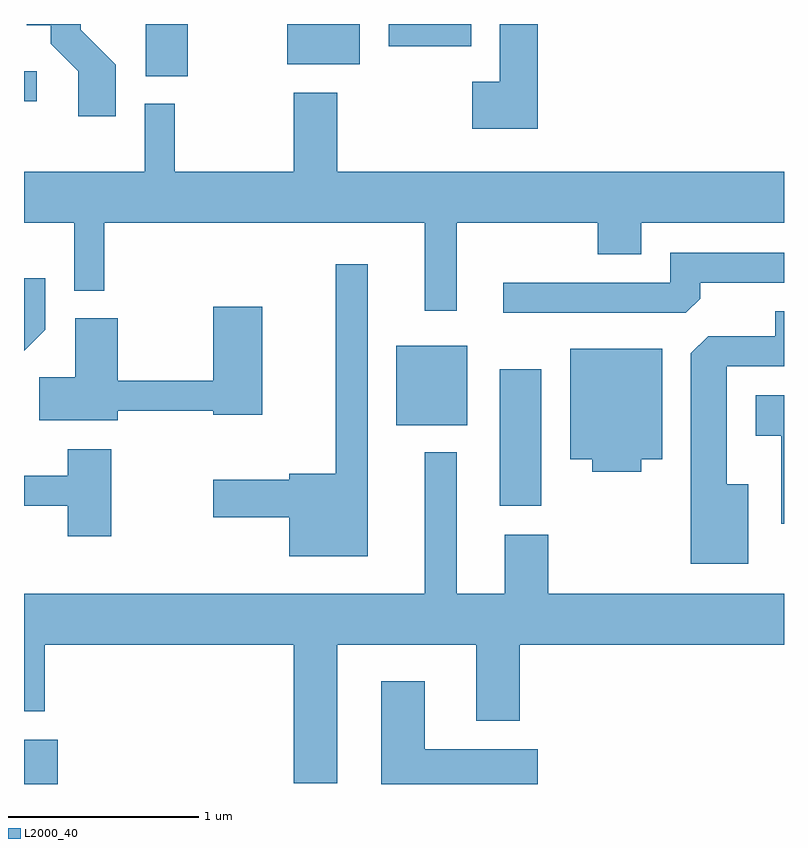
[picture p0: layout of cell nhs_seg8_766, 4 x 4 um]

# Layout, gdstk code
import gdstk
lib = gdstk.Library(unit=1e-6, precision=1e-09)
def R(c, l, rs):  # rectangles x0, y0, x1, y1
    for r in rs: c.add(gdstk.rectangle(r[:2], r[2:], *l))
def P(c, l, *ps):  # polygons
    for p in ps: c.add(gdstk.Polygon(p, *l))
L2000_40 = (2000, 40)

nhs_seg8_766 = lib.new_cell('nhs_seg8_766')
R(nhs_seg8_766, L2000_40, [(207.611,1842.342,207.789,1842.574), (210.116,1843.806,210.334,1844.524), (209.571,1844.231,209.944,1844.649), (207.611,1845.936,207.678,1846.094), (208.251,1846.066,208.474,1846.342), (208.996,1846.131,209.379,1846.342), (209.531,1846.226,209.964,1846.342)])
P(nhs_seg8_766, L2000_40, [(208.094,1846.127),(207.909,1846.312),(207.909,1846.342),(207.626,1846.342),(207.626,1846.336),(207.751,1846.336),(207.751,1846.239),(207.896,1846.094),(207.896,1845.856),(208.094,1845.856)],
  [(210.314,1846.342),(210.116,1846.342),(210.116,1846.039),(209.971,1846.039),(209.971,1845.791),(210.314,1845.791)],
  [(209.889,1845.296),(210.631,1845.296),(210.631,1845.131),(210.859,1845.131),(210.859,1845.296),(211.611,1845.296),(211.611,1845.564),(209.259,1845.564),(209.259,1845.979),(209.031,1845.979),(209.031,1845.564),(208.404,1845.564),(208.404,1845.923),(208.246,1845.923),(208.246,1845.564),(207.611,1845.564),(207.611,1845.296),(207.876,1845.296),(207.876,1844.938),(208.034,1844.938),(208.034,1845.296),(209.721,1845.296),(209.721,1844.833),(209.889,1844.833)],
  [(211.169,1844.897),(211.169,1844.981),(211.611,1844.981),(211.611,1845.139),(211.011,1845.139),(211.011,1844.979),(210.133,1844.979),(210.133,1844.821),(211.094,1844.821)],
  [(209.419,1845.078),(209.251,1845.078),(209.251,1843.974),(209.006,1843.974),(209.006,1843.944),(208.606,1843.944),(208.606,1843.746),(209.006,1843.746),(209.006,1843.541),(209.419,1843.541)],
  [(207.724,1844.734),(207.724,1845.004),(207.611,1845.004),(207.611,1844.621)],
  [(208.104,1844.306),(208.606,1844.306),(208.606,1844.286),(208.864,1844.286),(208.864,1844.854),(208.606,1844.854),(208.606,1844.464),(208.104,1844.464),(208.104,1844.794),(207.881,1844.794),(207.881,1844.484),(207.691,1844.484),(207.691,1844.256),(208.104,1844.256)],
  [(211.424,1843.919),(211.309,1843.919),(211.309,1844.541),(211.611,1844.541),(211.611,1844.829),(211.566,1844.829),(211.566,1844.699),(211.212,1844.699),(211.121,1844.609),(211.121,1843.501),(211.424,1843.501)],
  [(210.859,1844.051),(210.969,1844.051),(210.969,1844.634),(210.486,1844.634),(210.486,1844.051),(210.601,1844.051),(210.601,1843.986),(210.859,1843.986)],
  [(211.611,1844.389),(211.461,1844.389),(211.461,1844.176),(211.596,1844.176),(211.596,1843.711),(211.611,1843.711)],
  [(208.069,1844.104),(207.841,1844.104),(207.841,1843.964),(207.611,1843.964),(207.611,1843.806),(207.841,1843.806),(207.841,1843.646),(208.069,1843.646)],
  [(207.611,1842.726),(207.719,1842.726),(207.719,1843.076),(209.031,1843.076),(209.031,1842.346),(209.259,1842.346),(209.259,1843.076),(209.991,1843.076),(209.991,1842.676),(210.219,1842.676),(210.219,1843.076),(211.611,1843.076),(211.611,1843.344),(210.369,1843.344),(210.369,1843.654),(210.141,1843.654),(210.141,1843.344),(209.889,1843.344),(209.889,1844.088),(209.721,1844.088),(209.721,1843.344),(207.611,1843.344)],
  [(210.314,1842.524),(209.719,1842.524),(209.719,1842.884),(209.491,1842.884),(209.491,1842.342),(210.314,1842.342)])

lib.write_gds('nhs_seg8_766.gds')
